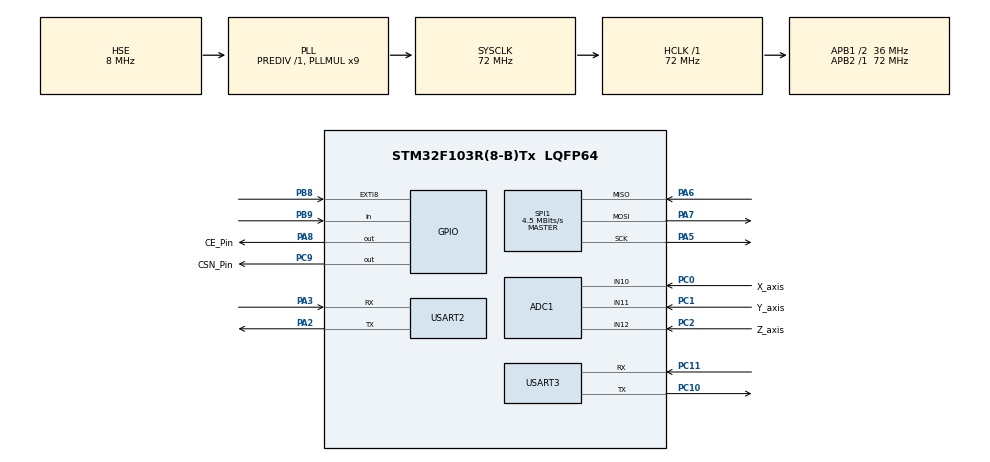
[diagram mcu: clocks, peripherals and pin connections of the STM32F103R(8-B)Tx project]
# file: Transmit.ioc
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ADC1.Channel-0\#ChannelRegularConversion=ADC_CHANNEL_10
ADC1.Channel-5\#ChannelRegularConversion=ADC_CHANNEL_11
ADC1.Channel-6\#ChannelRegularConversion=ADC_CHANNEL_12
ADC1.ContinuousConvMode=ENABLE
ADC1.DiscontinuousConvMode=DISABLE
ADC1.NbrOfConversion=3
ADC1.NbrOfConversionFlag=1
ADC1.Rank-0\#ChannelRegularConversion=1
ADC1.Rank-5\#ChannelRegularConversion=2
ADC1.Rank-6\#ChannelRegularConversion=3
ADC1.SamplingTime-0\#ChannelRegularConversion=ADC_SAMPLETIME_239CYCLES_5
ADC1.SamplingTime-5\#ChannelRegularConversion=ADC_SAMPLETIME_239CYCLES_5
ADC1.SamplingTime-6\#ChannelRegularConversion=ADC_SAMPLETIME_239CYCLES_5
ADC1.master=1
Dma.ADC1.0.Direction=DMA_PERIPH_TO_MEMORY
Dma.ADC1.0.Instance=DMA1_Channel1
Dma.ADC1.0.MemDataAlignment=DMA_MDATAALIGN_HALFWORD
Dma.ADC1.0.MemInc=DMA_MINC_ENABLE
Dma.ADC1.0.Mode=DMA_CIRCULAR
Dma.ADC1.0.PeriphDataAlignment=DMA_PDATAALIGN_HALFWORD
Dma.ADC1.0.PeriphInc=DMA_PINC_DISABLE
Dma.ADC1.0.Priority=DMA_PRIORITY_LOW
Dma.Request0=ADC1
Mcu.Family=STM32F1
Mcu.Name=STM32F103R(8-B)Tx
Mcu.Package=LQFP64
NVIC.ADC1_2_IRQn=true\:0\:0\:false\:false\:true\:true\:true\:true
NVIC.DMA1_Channel1_IRQn=true\:0\:0\:false\:false\:true\:false\:true\:true
NVIC.EXTI9_5_IRQn=true\:0\:0\:false\:false\:true\:true\:true\:true
NVIC.PriorityGroup=NVIC_PRIORITYGROUP_4
NVIC.TIM2_IRQn=true\:0\:0\:false\:false\:true\:true\:true\:true
NVIC.USART3_IRQn=true\:0\:0\:false\:false\:true\:true\:true\:true
PA2.Mode=Asynchronous
PA2.Signal=USART2_TX
PA3.Mode=Asynchronous
PA3.Signal=USART2_RX
PA5.Mode=Full_Duplex_Master
PA5.Signal=SPI1_SCK
PA6.Mode=Full_Duplex_Master
PA6.Signal=SPI1_MISO
PA7.Mode=Full_Duplex_Master
PA7.Signal=SPI1_MOSI
PA8.GPIO_Label=CE_Pin
PA8.Signal=GPIO_Output
PB8.GPIO_ModeDefaultEXTI=GPIO_MODE_IT_FALLING
PB8.GPIO_PuPd=GPIO_PULLUP
PB8.Signal=GPXTI8
PB9.Signal=GPIO_Input
PC0.GPIO_Label=X_axis
PC0.Signal=ADCx_IN10
PC1.GPIO_Label=Y_axis
PC1.Signal=ADCx_IN11
PC10.Mode=Asynchronous
PC10.Signal=USART3_TX
PC11.Mode=Asynchronous
PC11.Signal=USART3_RX
PC14-OSC32_IN.Mode=LSE-External-Oscillator
PC14-OSC32_IN.Signal=RCC_OSC32_IN
PC15-OSC32_OUT.Mode=LSE-External-Oscillator
PC15-OSC32_OUT.Signal=RCC_OSC32_OUT
PC2.GPIO_Label=Z_axis
PC2.Signal=ADCx_IN12
PC9.GPIO_Label=CSN_Pin
PC9.Signal=GPIO_Output
PD0-OSC_IN.Mode=HSE-External-Clock-Source
PD0-OSC_IN.Signal=RCC_OSC_IN
PD1-OSC_OUT.Mode=HSE-External-Clock-Source
PD1-OSC_OUT.Signal=RCC_OSC_OUT
ProjectManager.HeapSize=0x200
ProjectManager.StackSize=0x400
ProjectManager.TargetToolchain=STM32CubeIDE
RCC.ADCPresc=RCC_ADCPCLK2_DIV6
RCC.AHBFreq_Value=72000000
RCC.APB1CLKDivider=RCC_HCLK_DIV2
RCC.APB1Freq_Value=36000000
RCC.APB1TimFreq_Value=72000000
RCC.APB2Freq_Value=72000000
RCC.APB2TimFreq_Value=72000000
RCC.HCLKFreq_Value=72000000
RCC.PLLMUL=RCC_PLL_MUL9
RCC.PLLSourceVirtual=RCC_PLLSOURCE_HSE
RCC.RTCClockSelection=RCC_RTCCLKSOURCE_LSE
RCC.SYSCLKFreq_VALUE=72000000
RCC.SYSCLKSource=RCC_SYSCLKSOURCE_PLLCLK
RCC.USBFreq_Value=72000000
SH.ADCx_IN10.0=ADC1_IN10,IN10
SH.ADCx_IN11.0=ADC1_IN11,IN11
SH.ADCx_IN12.0=ADC1_IN12,IN12
SPI1.BaudRatePrescaler=SPI_BAUDRATEPRESCALER_16
SPI1.CalculateBaudRate=4.5 MBits/s
SPI1.Direction=SPI_DIRECTION_2LINES
SPI1.Mode=SPI_MODE_MASTER
SPI1.VirtualType=VM_MASTER
TIM2.Period=200-1
TIM2.Prescaler=7200-1
USART2.VirtualMode=VM_ASYNC
USART3.VirtualMode=VM_ASYNC
VP_SYS_VS_ND.Mode=No_Debug
VP_TIM2_VS_ClockSourceINT.Mode=Internal
board=NUCLEO-F103RB

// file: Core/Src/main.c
/* USER CODE BEGIN Header */

/**

******************************************************************************

* @file : main.c

* @brief : Main program body

******************************************************************************

* @attention

*

* Copyright (c) 2025 STMicroelectronics.

* All rights reserved.

*

* This software is licensed under terms that can be found in the LICENSE file

* in the root directory of this software component.

* If no LICENSE file comes with this software, it is provided AS-IS.

*

******************************************************************************

*/

/* USER CODE END Header */
#include "main.h"
#include "adc.h"
#include "dma.h"
#include "spi.h"
#include "tim.h"
#include "usart.h"
#include "gpio.h"

/* USER CODE BEGIN Includes */

#include "NRF24.h"
#include "NRF24_conf.h"
#include "stdio.h"
#include "string.h"
#include "NRF24_reg_addresses.h"
#include "voice_proto.h"
#include "stdlib.h"//절대값(abs)
#include "stdbool.h"

/* USER CODE END Includes */

/* USER CODE BEGIN PTD */
typedef enum { ST_IDLE=0, ST_JOYSTICK, ST_VOICE } ctrl_state_t;

// 3축 데이터 구조체
typedef struct { uint16_t x,y,z; } triplet_t;
/* USER CODE END PTD */

/* USER CODE BEGIN PD */
#define ADC_MAX 4090    // 실제 최대값
#define ADC_MIN 0
#define ADC_NEU 2045	//ADC 중간값 4020/2
#define ADC_DEAD_ZONE 500	//데드존 처리

/* USER CODE END PD */

/* USER CODE BEGIN PV */
uint8_t tx_address[5] = {0xE7, 0xE7, 0xE7, 0xE7, 0xE7};

volatile uint16_t adc_buffer[3] = {0};	//ADC가 변환한 x, y, z값을 DMA가 담는 버퍼 - x, y, z 3개
volatile uint8_t adc_conversion_complete = 0;
volatile uint32_t g_stop_until_ms = 0; // E-Stop 해제 시간
static uint32_t last_pb9_press_time = 0; // 디바운싱용

volatile uint8_t  adc_data_ready_flag = 0;
volatile uint32_t adc_cb_cnt = 0;

// ===== 음성 & 상태 머신 =====
static uint8_t rx3_byte = 0;              // USART3 1바이트 수신 버퍼
static volatile ctrl_state_t g_state = ST_IDLE;
static uint8_t last_cmd = 0x03;           // 기본 정지(STOP)

static const triplet_t VOICE_MAP[6] = {
/*0*/ {ADC_NEU,ADC_NEU,ADC_NEU},
/*1 FWD  */ {ADC_NEU,4090,ADC_NEU},
/*2 BACK */ {ADC_NEU,0,ADC_NEU},
/*3 STOP */ {ADC_NEU,ADC_NEU,ADC_NEU},
/*4 LEFT */ {0,ADC_NEU,ADC_NEU},
/*5 RIGHT*/ {4090,ADC_NEU,ADC_NEU},
};

uint8_t payload[6];

/* USER CODE END PV */

void SystemClock_Config(void);
/* USER CODE BEGIN PFP */
void nrf24_transmitter_setup(void);
void transmit_sensor_data(void);
static bool joystick_is_active(int x, int y, int z);
//static inline int  iabs_int(int v) { return v>=0? v : -v; };
/* USER CODE END PFP */

int main(void)
{

  /* MCU Configuration--------------------------------------------------------*/

  /* Reset of all peripherals, Initializes the Flash interface and the Systick. */
  HAL_Init();

  /* Configure the system clock */
  SystemClock_Config();

  /* Initialize all configured peripherals */
  MX_GPIO_Init();
  MX_DMA_Init();
  MX_SPI1_Init();
  MX_USART2_UART_Init();
  MX_ADC1_Init();
  MX_TIM2_Init();
  MX_USART3_UART_Init();
  /* USER CODE BEGIN 2 */

nrf24_init();
nrf24_transmitter_setup();

// 음성 FSM + UART3 인터럽트 수신 시작
Voice_Init();
HAL_UART_Receive_IT(&huart3, &rx3_byte, 1);

HAL_ADCEx_Calibration_Start(&hadc1);

//타이머 인터럽트 시작 20ms마다
HAL_TIM_Base_Start_IT(&htim2);

  /* USER CODE END 2 */

  /* Infinite loop */
while (1)
{

    /* USER CODE BEGIN 3 */

	if(adc_conversion_complete){	//DMA가 메모리 저장을 완료하여 콜백함수에 의해 adc_conversion_complete = 1이 되어 조건이 참이된다면
	transmit_sensor_data();

	    }

	    __WFI(); // 저전력 대기(인터럽트가 깨움)
	  }

  /* USER CODE END 3 */
}

void SystemClock_Config(void)
{
  RCC_OscInitTypeDef RCC_OscInitStruct = {0};
  RCC_ClkInitTypeDef RCC_ClkInitStruct = {0};
  RCC_PeriphCLKInitTypeDef PeriphClkInit = {0};

  /** Initializes the RCC Oscillators according to the specified parameters
  * in the RCC_OscInitTypeDef structure.
  */
  RCC_OscInitStruct.OscillatorType = RCC_OSCILLATORTYPE_HSE;
  RCC_OscInitStruct.HSEState = RCC_HSE_BYPASS;
  RCC_OscInitStruct.HSEPredivValue = RCC_HSE_PREDIV_DIV1;
  RCC_OscInitStruct.HSIState = RCC_HSI_ON;
  RCC_OscInitStruct.PLL.PLLState = RCC_PLL_ON;
  RCC_OscInitStruct.PLL.PLLSource = RCC_PLLSOURCE_HSE;
  RCC_OscInitStruct.PLL.PLLMUL = RCC_PLL_MUL9;
  if (HAL_RCC_OscConfig(&RCC_OscInitStruct) != HAL_OK)
  {
    Error_Handler();
  }

  /** Initializes the CPU, AHB and APB buses clocks
  */
  RCC_ClkInitStruct.ClockType = RCC_CLOCKTYPE_HCLK|RCC_CLOCKTYPE_SYSCLK
                              |RCC_CLOCKTYPE_PCLK1|RCC_CLOCKTYPE_PCLK2;
  RCC_ClkInitStruct.SYSCLKSource = RCC_SYSCLKSOURCE_PLLCLK;
  RCC_ClkInitStruct.AHBCLKDivider = RCC_SYSCLK_DIV1;
  RCC_ClkInitStruct.APB1CLKDivider = RCC_HCLK_DIV2;
  RCC_ClkInitStruct.APB2CLKDivider = RCC_HCLK_DIV1;

  if (HAL_RCC_ClockConfig(&RCC_ClkInitStruct, FLASH_LATENCY_2) != HAL_OK)
  {
    Error_Handler();
  }
  PeriphClkInit.PeriphClockSelection = RCC_PERIPHCLK_ADC;
  PeriphClkInit.AdcClockSelection = RCC_ADCPCLK2_DIV6;
  if (HAL_RCCEx_PeriphCLKConfig(&PeriphClkInit) != HAL_OK)
  {
    Error_Handler();
  }
}

/* USER CODE BEGIN 4 */
static bool joystick_is_active(int x, int y, int z) {
    return (abs(x - ADC_NEU) > ADC_DEAD_ZONE) ||
           (abs(y - ADC_NEU) > ADC_DEAD_ZONE) ||
           (abs(z - ADC_NEU) > ADC_DEAD_ZONE);
}

void nrf24_transmitter_setup(void)

{
nrf24_defaults();
nrf24_pwr_up();
nrf24_flush_tx();
nrf24_flush_rx();
nrf24_clear_rx_dr();
nrf24_clear_tx_ds();
nrf24_clear_max_rt();
nrf24_stop_listen();                        //수신모드 비활성화 하여 송신 전용 모드로 전환
nrf24_set_channel(77);                      //무선 채널 40번으로 설정
nrf24_auto_ack_all(0);                //자동 ack기능 off=>단순 송신만 수행
nrf24_set_payload_size(6);                  //한번에 전송할 페이로드 크기 최대 32바이트
nrf24_tx_pwr(3);
nrf24_data_rate(_1mbps);
nrf24_open_tx_pipe(tx_address);             //파이프 0에 tx_address를 열어 송신 대상 지정
nrf24_pwr_up();                             //모듈 power up=>송신 준비 완료

    uint8_t cfg = nrf24_r_reg(CONFIG, 1);
    cfg &= ~((1<<5)|(1<<4));                // MASK_TX_DS=5, MASK_MAX_RT=4 -> 0
    nrf24_w_reg(CONFIG, &cfg, 1);
}

int __io_putchar(int ch)
{
HAL_UART_Transmit(&huart2, (uint8_t*)&ch, 1, HAL_MAX_DELAY);
return ch;
}

void transmit_sensor_data(void){
	adc_conversion_complete = 0;

	// 1. 최신 ADC 값 안전하게 복사
	uint16_t local_adc_buffer[3];
	__disable_irq();
	memcpy(local_adc_buffer, (void*)adc_buffer, sizeof(adc_buffer));
	__enable_irq();

	uint16_t x = local_adc_buffer[0];
    uint16_t y = local_adc_buffer[1];
	uint16_t z = local_adc_buffer[2];

    // ★★★★★ E-Stop 로직 삽입 시작 ★★★★★
    uint32_t current_time = HAL_GetTick();

    if (g_stop_until_ms != 0) { // E-Stop 상태인가?
        if (current_time < g_stop_until_ms) {
            // [정지] 아직 3초가 안 지났으면: 강제 중립값(정지) 전송
            x = ADC_NEU;
            y = ADC_NEU;
            z = ADC_NEU;
            // E-Stop 중에는 상태 머신 로직을 스킵하고 바로 전송합니다.

                        g_state = ST_IDLE;      // 상태를 대기 모드로 강제 변경
                        last_cmd = 0x03;        // 마지막 명령을 STOP(0x03)으로 초기화

        } else {
            // [복귀] 3초가 지났으면: E-Stop 해제 및 상태 머신으로 복귀
            g_stop_until_ms = 0;
        }
    }
    // ★★★★★ E-Stop 로직 삽입 끝 ★★★★★

    // E-Stop 상태가 아니거나 E-Stop 시간이 끝났다면, 기존 로직을 실행
    if (g_stop_until_ms == 0) {

        // 2) 조이스틱 활성 판정
        bool active = joystick_is_active((int)x,(int)y,(int)z);

        // 3) (조이스틱 중립일 때만) 음성 프레임 소비
        if (!active && Voice_FrameAvailable()){
            voice_frame_t vf;
            __disable_irq();
            bool ok = Voice_TryPopFrame(&vf);
            __enable_irq();
            if (ok && vf.cmd >= 0x01 && vf.cmd <= 0x05){
                last_cmd = vf.cmd;
                g_state  = ST_VOICE;       // 음성 모드 진입
            }
        }

        // 4) 상태머신으로 이번 주기 전송값 결정
        uint16_t tx_x = ADC_NEU, tx_y = ADC_NEU, tx_z = ADC_NEU;

        switch (g_state)
        {
          case ST_IDLE:
            if (active) g_state = ST_JOYSTICK;
            break;

          case ST_JOYSTICK:
            if (!active){
              g_state = ST_IDLE;
            } else {
              tx_x = x; tx_y = y; tx_z = z;      // 조이스틱 값 그대로
            }
            break;

          case ST_VOICE:
          default:
            if (active){
              g_state = ST_JOYSTICK;            // 조이스틱 우선
              tx_x = x; tx_y = y; tx_z = z;
            } else {
              triplet_t t = VOICE_MAP[last_cmd];
              tx_x = t.x; tx_y = t.y; tx_z = t.z; // 음성 등가값
            }
            break;
        }

        // 5) 최종 전송할 페이로드를 E-Stop 로직 밖에서 설정합니다.
        // E-Stop 로직에서 x, y, z 값이 이미 결정되었으므로, E-Stop이 아닐 때만 tx_x, tx_y, tx_z를 사용합니다.
        x = tx_x; y = tx_y; z = tx_z;
    } // g_stop_until_ms == 0 (E-Stop 아닐 때) 끝

	//6바이트 2진 패킹
	uint8_t payload[6];
	payload[0] = (uint8_t)(x & 0xff);	//x하위8비트
	payload[1] = (uint8_t)(x >> 8);		//x상위8비트 시프트
	payload[2] = (uint8_t)(y & 0xff);	//y하위8비트
	payload[3] = (uint8_t)(y >> 8);		//y상위8비트
	payload[4] = (uint8_t)(z & 0xff);	//z하위8비트
	payload[5] = (uint8_t)(z >> 8);		//z상위8비트

	//최종 데이터 발송
	nrf24_transmit(payload, 6);

    // 6) 디버그 로그 (tx_x, tx_y, tx_z가 아닌 실제 전송된 x,y,z 값을 사용)
	const char* s = (g_stop_until_ms != 0) ? "E-STOP" : (g_state==ST_JOYSTICK)?"JOY":(g_state==ST_VOICE)?"VOICE":"IDLE";
	if (g_stop_until_ms != 0) {
        printf("TX[%s] STOP (until:%lu)\r\n", s, g_stop_until_ms);
	} else if (g_state==ST_VOICE) {
        printf("TX[%s] CMD:0x%02X | X:%u Y:%u Z:%u\r\n", s, last_cmd, x, y, z);
    } else {
        printf("TX[%s] X:%u Y:%u Z:%u\r\n", s, x, y, z);
    }
}

void HAL_GPIO_EXTI_Callback(uint16_t GPIO_Pin)
{
    // GPIO_PIN_8 (E-Stop 버튼 핀)에서 인터럽트가 발생했는지 확인
    if(GPIO_Pin == GPIO_PIN_8) // 핀 번호가 맞는지 확인해주세요.
    {
    	printf("!!! E-STOP BUTTON PRESSED !!!\r\n");
        // --- 소프트웨어 디바운싱 (노이즈 제거) ---
        uint32_t current_time = HAL_GetTick();
        if (current_time - last_pb9_press_time < 300) // 0.3초 이내의 재입력은 무시
        {
            return; // 바운싱으로 간주하고 무시
        }
        last_pb9_press_time = current_time;
        // --- 디바운싱 끝 ---

        // E-Stop 발생: "3초 뒤" 시간을 g_stop_until_ms 변수에 저장
        g_stop_until_ms = current_time + 3000; // 3000ms = 3초 정지
    }
}

//타이머가 만료될 때마다 호출되는 콜백함수 20ms주기
void HAL_TIM_PeriodElapsedCallback(TIM_HandleTypeDef *htim)
{
    // 이벤트가 발생한 타이머가 TIM2인지 확인
    if (htim->Instance == TIM2)
    {
    	//3개의 ADC값을 변환해서 그 결과를 adc_buffer에 DMA로 저장 시작
        HAL_ADC_Start_DMA(&hadc1, (uint32_t*)adc_buffer, 3);
    }
}

void HAL_ADC_ConvCpltCallback(ADC_HandleTypeDef *hadc)
{
    // 이벤트가 발생한 ADC가 ADC1인지 확인
    if (hadc->Instance == ADC1)
    {
        // Main루프의 if문 조건이 참이 되어 transmit_sensor_data함수호출
        adc_conversion_complete = 1;
    }
}

//ADC변환 중 오류가 발생했을 때 자동으로 호출, DMA전송을 중지
void HAL_ADC_ErrorCallback(ADC_HandleTypeDef *hadc)
{
    if (hadc->Instance == ADC1)
    {
        // ADC 오류 발생 시, 진행 중이던 DMA를 안전하게 중지
        // 다음 타이머 주기(20ms 후)에 HAL_ADC_Start_DMA가 다시 호출되며 자동으로 복구를 시도함
        HAL_ADC_Stop_DMA(&hadc1);
    }
}

void HAL_UART_RxCpltCallback(UART_HandleTypeDef *huart)
{
  if (huart->Instance == USART3)
  {
    Voice_RxByteFromIRQ(rx3_byte);
    HAL_UART_Receive_IT(&huart3, &rx3_byte, 1);
  }
}

void HAL_UART_ErrorCallback(UART_HandleTypeDef *huart)
{
  if (huart->Instance == USART3)
  {
    HAL_UART_Receive_IT(&huart3, &rx3_byte, 1);
  }
}

/* USER CODE END 4 */

void Error_Handler(void)
{
	__disable_irq();
	  while (1) { }
__disable_irq();
while (1)
{
}
}
